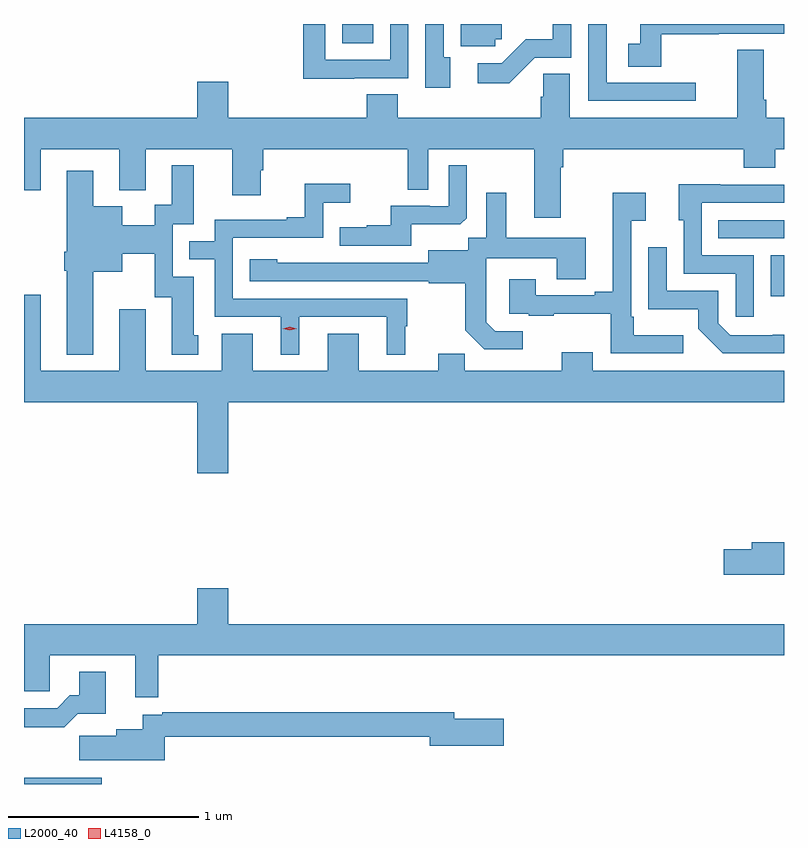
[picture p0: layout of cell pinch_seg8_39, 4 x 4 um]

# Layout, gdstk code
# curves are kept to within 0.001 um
import gdstk
lib = gdstk.Library(unit=1e-6, precision=1e-09)
def R(c, l, rs):  # rectangles x0, y0, x1, y1
    for r in rs: c.add(gdstk.rectangle(r[:2], r[2:], *l))
def P(c, l, *ps):  # polygons
    for p in ps: c.add(gdstk.Polygon(p, *l))
L2000_40 = (2000, 40)
L4158_0 = (4158, 0)

pinch_seg8_39 = lib.new_cell('pinch_seg8_39')
R(pinch_seg8_39, L2000_40, [(919.34,1133.138,919.75,1133.17), (923.27,1135.706,923.34,1135.921), (922.993,1136.01,923.34,1136.106), (921.014,1137.036,921.178,1137.138)])
P(pinch_seg8_39, L2000_40, [(921.583,1136.962),(921.549,1136.962),(921.549,1137.138),(921.453,1137.138),(921.453,1136.802),(921.583,1136.802)],
  [(922.876,1136.829),(922.408,1136.829),(922.408,1137.138),(922.311,1137.138),(922.311,1136.733),(922.876,1136.733)],
  [(922.029,1136.961),(922.221,1136.961),(922.221,1137.138),(922.124,1137.138),(922.124,1137.058),(921.982,1137.058),(921.855,1136.931),(921.729,1136.931),(921.729,1136.826),(921.893,1136.826)],
  [(921.079,1136.853),(921.363,1136.853),(921.363,1137.138),(921.267,1137.138),(921.267,1136.949),(920.925,1136.949),(920.925,1137.138),(920.809,1137.138),(920.809,1136.849),(921.079,1136.849)],
  [(922.693,1137.085),(922.997,1137.085),(922.997,1137.087),(923.34,1137.087),(923.34,1137.138),(922.584,1137.138),(922.584,1137.033),(922.521,1137.033),(922.521,1136.914),(922.693,1136.914)],
  [(921.819,1137.057),(921.855,1137.057),(921.855,1137.138),(921.638,1137.138),(921.638,1137.021),(921.819,1137.021)],
  [(922.165,1136.384),(922.178,1136.384),(922.178,1136.48),(923.129,1136.48),(923.129,1136.381),(923.293,1136.381),(923.293,1136.48),(923.34,1136.48),(923.34,1136.644),(923.246,1136.644),(923.246,1136.74),(923.233,1136.74),(923.233,1137.002),(923.093,1137.002),(923.093,1136.644),(922.213,1136.644),(922.213,1136.876),(922.074,1136.876),(922.074,1136.754),(922.061,1136.754),(922.061,1136.644),(921.308,1136.644),(921.308,1136.768),(921.143,1136.768),(921.143,1136.644),(920.416,1136.644),(920.416,1136.833),(920.252,1136.833),(920.252,1136.644),(919.34,1136.644),(919.34,1136.262),(919.429,1136.262),(919.429,1136.48),(919.841,1136.48),(919.841,1136.264),(919.981,1136.264),(919.981,1136.48),(920.435,1136.48),(920.435,1136.238),(920.587,1136.238),(920.587,1136.367),(920.6,1136.367),(920.6,1136.48),(921.36,1136.48),(921.36,1136.266),(921.468,1136.266),(921.468,1136.48),(922.025,1136.48),(922.025,1136.118),(922.165,1136.118)],
  [(921.379,1136.084),(921.637,1136.084),(921.669,1136.115),(921.669,1136.395),(921.576,1136.395),(921.576,1136.178),(921.476,1136.178),(921.476,1136.181),(921.269,1136.181),(921.269,1136.08),(921.145,1136.08),(921.145,1136.068),(921.001,1136.068),(921.001,1135.971),(921.379,1135.971)],
  [(919.705,1135.835),(919.858,1135.835),(919.858,1135.928),(920.028,1135.928),(920.028,1135.701),(920.117,1135.701),(920.117,1135.398),(920.257,1135.398),(920.257,1135.5),(920.233,1135.5),(920.233,1135.809),(920.124,1135.809),(920.124,1136.085),(920.233,1136.085),(920.233,1136.395),(920.117,1136.395),(920.117,1136.186),(920.027,1136.186),(920.027,1136.08),(919.858,1136.08),(919.858,1136.179),(919.705,1136.179),(919.705,1136.365),(919.565,1136.365),(919.565,1135.939),(919.553,1135.939),(919.553,1135.839),(919.565,1135.839),(919.565,1135.397),(919.705,1135.397)],
  [(920.788,1135.596),(921.248,1135.596),(921.248,1135.397),(921.346,1135.397),(921.346,1135.548),(921.358,1135.548),(921.358,1135.692),(920.439,1135.692),(920.439,1136.013),(920.916,1136.013),(920.916,1136.198),(921.058,1136.198),(921.058,1136.297),(920.818,1136.297),(920.818,1136.122),(920.723,1136.122),(920.723,1136.109),(920.343,1136.109),(920.343,1135.995),(920.209,1135.995),(920.209,1135.899),(920.343,1135.899),(920.343,1135.596),(920.69,1135.596),(920.69,1135.397),(920.788,1135.397)],
  [(923.181,1135.92),(922.908,1135.92),(922.908,1136.196),(923.34,1136.196),(923.34,1136.292),(923.005,1136.292),(923.005,1136.294),(922.787,1136.294),(922.787,1136.106),(922.812,1136.106),(922.812,1135.824),(923.085,1135.824),(923.085,1135.596),(923.181,1135.596)],
  [(921.964,1135.521),(921.819,1135.521),(921.772,1135.568),(921.772,1135.663),(921.774,1135.663),(921.774,1135.904),(922.145,1135.904),(922.145,1135.795),(922.297,1135.795),(922.297,1136.014),(921.877,1136.014),(921.877,1136.251),(921.773,1136.251),(921.773,1136.012),(921.678,1136.012),(921.678,1135.948),(921.467,1135.948),(921.467,1135.881),(920.673,1135.882),(920.673,1135.9),(920.529,1135.9),(920.529,1135.785),(921.471,1135.785),(921.471,1135.773),(921.663,1135.773),(921.663,1135.527),(921.763,1135.427),(921.964,1135.427)],
  [(922.81,1135.501),(922.549,1135.501),(922.549,1135.597),(922.536,1135.597),(922.536,1136.102),(922.612,1136.102),(922.612,1136.251),(922.439,1136.251),(922.439,1135.729),(922.343,1135.729),(922.343,1135.71),(922.033,1135.71),(922.033,1135.795),(921.893,1135.795),(921.893,1135.614),(921.997,1135.614),(921.997,1135.602),(922.129,1135.602),(922.129,1135.613),(922.428,1135.613),(922.428,1135.404),(922.81,1135.404)],
  [(923.34,1135.502),(923.282,1135.502),(923.282,1135.5),(923.058,1135.5),(922.995,1135.563),(922.995,1135.734),(922.722,1135.734),(922.722,1135.963),(922.626,1135.963),(922.626,1135.637),(922.888,1135.637),(922.888,1135.535),(923.018,1135.404),(923.34,1135.404)],
  [(920.416,1135.148),(923.34,1135.148),(923.34,1135.312),(922.333,1135.312),(922.333,1135.411),(922.169,1135.411),(922.169,1135.312),(921.659,1135.312),(921.659,1135.403),(921.521,1135.403),(921.521,1135.312),(921.103,1135.312),(921.103,1135.507),(920.939,1135.507),(920.939,1135.312),(920.545,1135.312),(920.545,1135.507),(920.381,1135.507),(920.381,1135.312),(919.981,1135.312),(919.981,1135.636),(919.841,1135.636),(919.841,1135.312),(919.429,1135.312),(919.429,1135.714),(919.34,1135.714),(919.34,1135.148),(920.252,1135.148),(920.252,1134.774),(920.416,1134.774)],
  [(923.34,1134.41),(923.171,1134.41),(923.171,1134.374),(923.022,1134.374),(923.022,1134.239),(923.34,1134.239)],
  [(920.047,1133.816),(923.34,1133.816),(923.34,1133.98),(920.416,1133.98),(920.416,1134.169),(920.252,1134.169),(920.252,1133.98),(919.34,1133.98),(919.34,1133.626),(919.476,1133.626),(919.476,1133.816),(919.925,1133.816),(919.925,1133.595),(920.047,1133.595)],
  [(919.622,1133.507),(919.771,1133.507),(919.771,1133.728),(919.631,1133.728),(919.631,1133.605),(919.582,1133.605),(919.515,1133.538),(919.34,1133.538),(919.34,1133.438),(919.553,1133.438)],
  [(920.081,1133.386),(921.476,1133.386),(921.476,1133.339),(921.865,1133.339),(921.865,1133.481),(921.604,1133.481),(921.604,1133.515),(920.068,1133.515),(920.068,1133.502),(919.964,1133.502),(919.964,1133.425),(919.826,1133.425),(919.826,1133.393),(919.632,1133.393),(919.632,1133.264),(920.081,1133.264)])
P(pinch_seg8_39, L4158_0, [(920.739,1135.525),(920.703,1135.534),(920.703,1135.535),(920.703,1135.535),(920.739,1135.545),(920.775,1135.535),(920.775,1135.535),(920.775,1135.534)])

lib.write_gds('pinch_seg8_39.gds')
